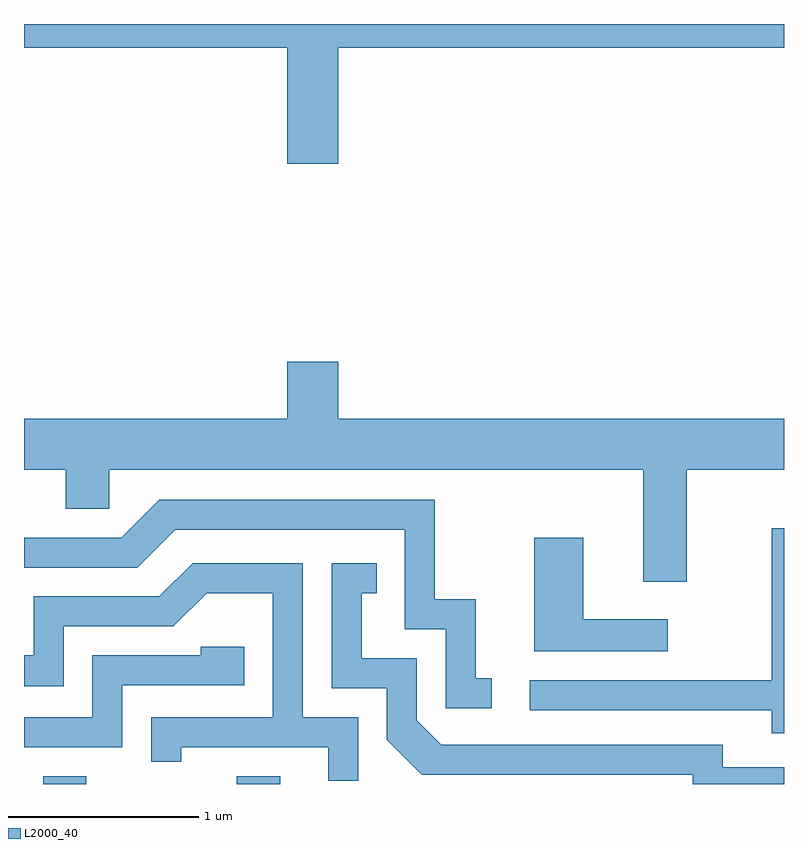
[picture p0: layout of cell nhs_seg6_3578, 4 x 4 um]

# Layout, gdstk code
import gdstk
lib = gdstk.Library(unit=1e-6, precision=1e-09)
def R(c, l, rs):  # rectangles x0, y0, x1, y1
    for r in rs: c.add(gdstk.rectangle(r[:2], r[2:], *l))
def P(c, l, *ps):  # polygons
    for p in ps: c.add(gdstk.Polygon(p, *l))
L2000_40 = (2000, 40)

nhs_seg6_3578 = lib.new_cell('nhs_seg6_3578')
R(nhs_seg6_3578, L2000_40, [(293.711,1546.162,293.939,1546.204), (294.731,1546.162,294.959,1546.204)])
P(nhs_seg6_3578, L2000_40, [(295.264,1550.036),(297.611,1550.036),(297.611,1550.162),(293.611,1550.162),(293.611,1550.036),(294.996,1550.036),(294.996,1549.426),(295.264,1549.426)],
  [(297.099,1547.816),(297.611,1547.816),(297.611,1548.084),(295.264,1548.084),(295.264,1548.384),(294.996,1548.384),(294.996,1548.084),(293.611,1548.084),(293.611,1547.816),(293.831,1547.816),(293.831,1547.611),(294.059,1547.611),(294.059,1547.816),(296.871,1547.816),(296.871,1547.226),(297.099,1547.226)],
  [(296.073,1546.719),(295.989,1546.719),(295.989,1547.134),(295.774,1547.134),(295.774,1547.659),(294.324,1547.659),(294.124,1547.459),(293.611,1547.459),(293.611,1547.301),(294.207,1547.301),(294.407,1547.501),(295.616,1547.501),(295.616,1546.976),(295.831,1546.976),(295.831,1546.561),(296.073,1546.561)],
  [(297.611,1547.508),(297.546,1547.508),(297.546,1546.709),(296.273,1546.709),(296.273,1546.551),(297.546,1546.551),(297.546,1546.428),(297.611,1546.428)],
  [(296.998,1547.029),(296.554,1547.029),(296.554,1547.459),(296.296,1547.459),(296.296,1546.861),(296.998,1546.861)],
  [(295.369,1546.514),(295.079,1546.514),(295.079,1547.324),(294.499,1547.324),(294.324,1547.149),(293.661,1547.149),(293.661,1546.839),(293.611,1546.839),(293.611,1546.676),(293.819,1546.676),(293.819,1546.991),(294.397,1546.991),(294.572,1547.166),(294.921,1547.166),(294.921,1546.514),(294.281,1546.514),(294.281,1546.278),(294.439,1546.278),(294.439,1546.356),(295.211,1546.356),(295.211,1546.178),(295.369,1546.178)],
  [(297.611,1546.249),(297.289,1546.249),(297.289,1546.369),(295.807,1546.369),(295.679,1546.497),(295.679,1546.824),(295.389,1546.824),(295.389,1547.166),(295.468,1547.166),(295.468,1547.324),(295.231,1547.324),(295.231,1546.666),(295.521,1546.666),(295.521,1546.394),(295.704,1546.211),(297.131,1546.211),(297.131,1546.162),(297.611,1546.162)],
  [(294.129,1546.681),(294.769,1546.681),(294.769,1546.884),(294.541,1546.884),(294.541,1546.839),(293.971,1546.839),(293.971,1546.514),(293.611,1546.514),(293.611,1546.356),(294.129,1546.356)])

lib.write_gds('nhs_seg6_3578.gds')
